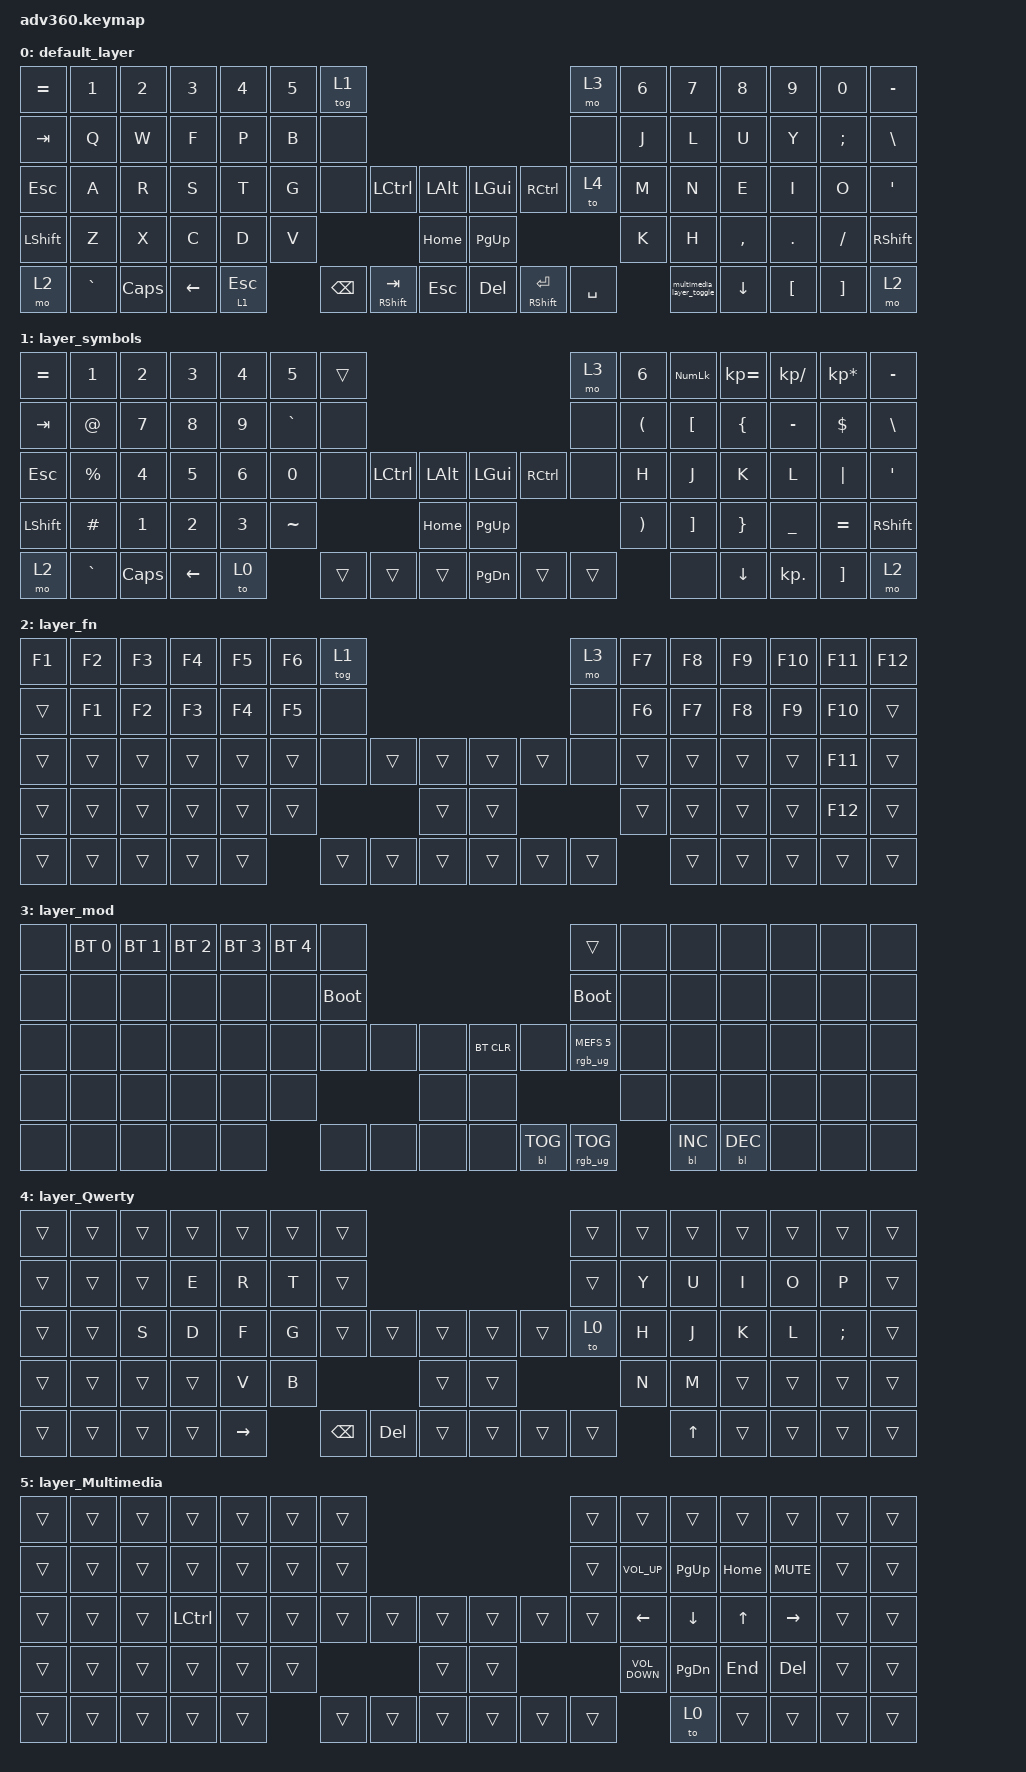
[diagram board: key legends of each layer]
/*
 * Copyright (c) 2020 The ZMK Contributors
 *
 * SPDX-License-Identifier: MIT
 */
/* THIS FILE WAS GENERATED!
 *
 * This file was generated automatically. You may or may not want to
 * edit it directly.
 */

#include <behaviors.dtsi>
#include <dt-bindings/zmk/backlight.h>
#include <dt-bindings/zmk/bt.h>
#include <dt-bindings/zmk/keys.h>
#include <dt-bindings/zmk/rgb.h>

/ {
    behaviors {
        #include "macros.dtsi"
    #include "version.dtsi"

        hm: homerow_mods {
            compatible = "zmk,behavior-hold-tap";
            label = "HOMEROW_MODS";
            #binding-cells = <2>;
            tapping-term-ms = <200>;
            quick_tap_ms = <175>;
            flavor = "tap-preferred";
            bindings = <&kp>, <&kp>;
        };

        multimedia_layer_toggle: multimedia_layer_toggle {
            compatible = "zmk,behavior-tap-dance";
            label = "MULTIMEDIA_LAYER_TOGGLE";
            #binding-cells = <0>;
            bindings = <&mo 1>, <&to 5>;

            tapping-term-ms = <300>;
        };
    };

    combos {
        compatible = "zmk,combos";

        Multimedia-layer {
            bindings = <&mo 5>;
            key-positions = <64 65>;
        };
    };

    keymap {
        compatible = "zmk,keymap";

        default_layer {
            bindings = <
&kp EQUAL  &kp N1     &kp N2    &kp N3    &kp N4     &kp N5  &tog 1                                                                               &mo 3      &kp N6  &kp N7                    &kp N8     &kp N9    &kp N0    &kp MINUS
&kp TAB    &kp Q      &kp W     &kp F     &kp P      &kp B   &none                                                                                &none      &kp J   &kp L                     &kp U      &kp Y     &kp SEMI  &kp BSLH
&kp ESC    &kp A      &kp R     &kp S     &kp T      &kp G   &none          &kp LCTRL            &kp LALT      &kp LGUI    &kp RCTRL              &to 4      &kp M   &kp N                     &kp E      &kp I     &kp O     &kp SQT
&kp LSHFT  &kp Z      &kp X     &kp C     &kp D      &kp V                                       &kp HOME      &kp PG_UP                                     &kp K   &kp H                     &kp COMMA  &kp DOT   &kp FSLH  &kp RSHFT
&mo 2      &kp GRAVE  &kp CAPS  &kp LEFT  &lt 1 ESC          &kp BACKSPACE  &mt RIGHT_SHIFT TAB  &kp ESC       &kp DELETE  &mt RIGHT_SHIFT ENTER  &kp SPACE          &multimedia_layer_toggle  &kp DOWN   &kp LBKT  &kp RBKT  &mo 2
            >;
        };

        layer_symbols {
            bindings = <
&kp EQUAL  &kp N1       &kp N2        &kp N3        &kp N4        &kp N5        &trans                                                 &mo 3   &kp N6                 &kp KP_NUM         &kp KP_EQUAL     &kp KP_DIVIDE   &kp KP_MULTIPLY  &kp MINUS
&kp TAB    &kp AT       &kp NUMBER_7  &kp NUMBER_8  &kp NUMBER_9  &kp GRAVE     &none                                                  &none   &kp LEFT_PARENTHESIS   &kp LEFT_BRACKET   &kp LEFT_BRACE   &kp MINUS       &kp DOLLAR       &kp BSLH
&kp ESC    &kp PERCENT  &kp NUMBER_4  &kp NUMBER_5  &kp NUMBER_6  &kp NUMBER_0  &none   &kp LCTRL  &kp LALT      &kp LGUI   &kp RCTRL  &none   &kp H                  &kp J              &kp K            &kp L           &kp PIPE         &kp SQT
&kp LSHFT  &kp HASH     &kp NUMBER_1  &kp NUMBER_2  &kp NUMBER_3  &kp TILDE                        &kp HOME      &kp PG_UP                     &kp RIGHT_PARENTHESIS  &kp RIGHT_BRACKET  &kp RIGHT_BRACE  &kp UNDERSCORE  &kp EQUAL        &kp RSHFT
&mo 2      &kp GRAVE    &kp CAPS      &kp LEFT      &to 0                       &trans  &trans     &trans        &kp PG_DN  &trans     &trans                         &none              &kp DOWN         &kp KP_DOT      &kp RBKT         &mo 2
            >;
        };

        layer_fn {
            bindings = <
&kp F1  &kp F2  &kp F3  &kp F4  &kp F5  &kp F6  &tog 1                                      &mo 3   &kp F7  &kp F8  &kp F9  &kp F10  &kp F11  &kp F12
&trans  &kp F1  &kp F2  &kp F3  &kp F4  &kp F5  &none                                       &none   &kp F6  &kp F7  &kp F8  &kp F9   &kp F10  &trans
&trans  &trans  &trans  &trans  &trans  &trans  &none   &trans  &trans      &trans  &trans  &none   &trans  &trans  &trans  &trans   &kp F11  &trans
&trans  &trans  &trans  &trans  &trans  &trans                  &trans      &trans                  &trans  &trans  &trans  &trans   &kp F12  &trans
&trans  &trans  &trans  &trans  &trans          &trans  &trans  &trans      &trans  &trans  &trans          &trans  &trans  &trans   &trans   &trans
            >;
        };

        layer_mod {
            bindings = <
&none  &bt BT_SEL 0  &bt BT_SEL 1  &bt BT_SEL 2  &bt BT_SEL 3  &bt BT_SEL 4  &none                                                  &trans                  &none  &none       &none       &none  &none  &none
&none  &none         &none         &none         &none         &none         &bootloader                                            &bootloader             &none  &none       &none       &none  &none  &none
&none  &none         &none         &none         &none         &none         &none        &none  &none      &bt BT_CLR  &none       &rgb_ug RGB_MEFS_CMD 5  &none  &none       &none       &none  &none  &none
&none  &none         &none         &none         &none         &none                             &none      &none                                           &none  &none       &none       &none  &none  &none
&none  &none         &none         &none         &none                       &none        &none  &none      &none       &bl BL_TOG  &rgb_ug RGB_TOG                &bl BL_INC  &bl BL_DEC  &none  &none  &none
            >;
        };

        layer_Qwerty {
            bindings = <
&trans  &trans  &trans  &trans  &trans           &trans  &trans                                                 &trans  &trans  &trans        &trans  &trans  &trans    &trans
&trans  &trans  &trans  &kp E   &kp R            &kp T   &trans                                                 &trans  &kp Y   &kp U         &kp I   &kp O   &kp P     &trans
&trans  &trans  &kp S   &kp D   &kp F            &kp G   &trans         &trans      &trans      &trans  &trans  &to 0   &kp H   &kp J         &kp K   &kp L   &kp SEMI  &trans
&trans  &trans  &trans  &trans  &kp V            &kp B                              &trans      &trans                  &kp N   &kp M         &trans  &trans  &trans    &trans
&trans  &trans  &trans  &trans  &kp RIGHT_ARROW          &kp BACKSPACE  &kp DELETE  &trans      &trans  &trans  &trans          &kp UP_ARROW  &trans  &trans  &trans    &trans
            >;
        };

        layer_Multimedia {
            bindings = <
&trans  &trans  &trans  &trans            &trans  &trans  &trans                                      &trans  &trans             &trans          &trans        &trans           &trans  &trans
&trans  &trans  &trans  &trans            &trans  &trans  &trans                                      &trans  &kp C_VOL_UP       &kp PAGE_UP     &kp HOME      &kp C_MUTE       &trans  &trans
&trans  &trans  &trans  &kp LEFT_CONTROL  &trans  &trans  &trans  &trans  &trans      &trans  &trans  &trans  &kp LEFT_ARROW     &kp DOWN_ARROW  &kp UP_ARROW  &kp RIGHT_ARROW  &trans  &trans
&trans  &trans  &trans  &trans            &trans  &trans                  &trans      &trans                  &kp C_VOLUME_DOWN  &kp PAGE_DOWN   &kp END       &kp DELETE       &trans  &trans
&trans  &trans  &trans  &trans            &trans          &trans  &trans  &trans      &trans  &trans  &trans                     &to 0           &trans        &trans           &trans  &trans
            >;
        };
    };
};
